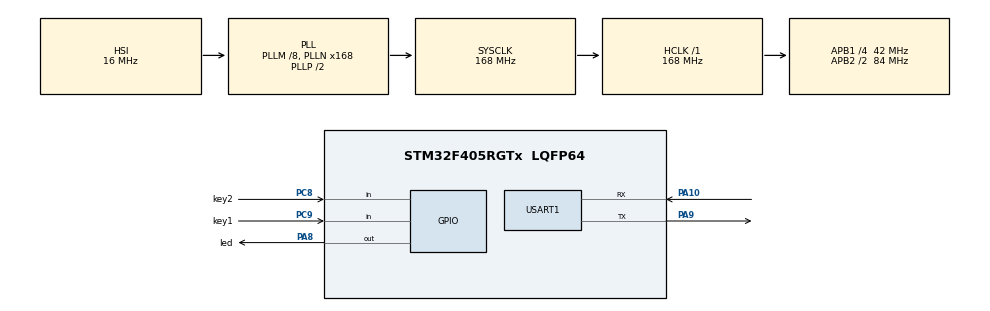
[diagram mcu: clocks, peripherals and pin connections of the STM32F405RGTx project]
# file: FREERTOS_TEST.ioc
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FREERTOS.Tasks01=defaultTask,0,128,StartDefaultTask,Default,NULL,Dynamic,NULL,NULL
Mcu.Family=STM32F4
Mcu.Name=STM32F405RGTx
Mcu.Package=LQFP64
Mcu.UserConstants=Pi,3.1415926
NVIC.PriorityGroup=NVIC_PRIORITYGROUP_4
NVIC.TIM1_UP_TIM10_IRQn=true\:15\:0\:false\:false\:true\:false\:false\:true\:true
NVIC.TimeBase=TIM1_UP_TIM10_IRQn
NVIC.TimeBaseIP=TIM1
PA10.Mode=Asynchronous
PA10.Signal=USART1_RX
PA13.Mode=Serial_Wire
PA13.Signal=SYS_JTMS-SWDIO
PA14.Mode=Serial_Wire
PA14.Signal=SYS_JTCK-SWCLK
PA8.GPIO_Label=led
PA8.Signal=GPIO_Output
PA9.Mode=Asynchronous
PA9.Signal=USART1_TX
PC8.GPIO_Label=key2
PC8.Signal=GPIO_Input
PC9.GPIO_Label=key1
PC9.Signal=GPIO_Input
PH0-OSC_IN.Mode=HSE-External-Oscillator
PH0-OSC_IN.Signal=RCC_OSC_IN
PH1-OSC_OUT.Mode=HSE-External-Oscillator
PH1-OSC_OUT.Signal=RCC_OSC_OUT
ProjectManager.HeapSize=0x200
ProjectManager.StackSize=0x400
ProjectManager.TargetToolchain=MDK-ARM V5.32
RCC.48MHZClocksFreq_Value=84000000
RCC.AHBFreq_Value=168000000
RCC.APB1CLKDivider=RCC_HCLK_DIV4
RCC.APB1Freq_Value=42000000
RCC.APB1TimFreq_Value=84000000
RCC.APB2CLKDivider=RCC_HCLK_DIV2
RCC.APB2Freq_Value=84000000
RCC.APB2TimFreq_Value=168000000
RCC.CortexFreq_Value=168000000
RCC.HCLKFreq_Value=168000000
RCC.HSE_VALUE=24000000
RCC.HSI_VALUE=16000000
RCC.LSE_VALUE=32768
RCC.PLLM=8
RCC.PLLN=168
RCC.SYSCLKFreq_VALUE=168000000
RCC.SYSCLKSource=RCC_SYSCLKSOURCE_PLLCLK
RCC.VCOOutputFreq_Value=336000000
USART1.VirtualMode=VM_ASYNC
VP_FREERTOS_VS_CMSIS_V1.Mode=CMSIS_V1
VP_SYS_VS_tim1.Mode=TIM1
board=custom

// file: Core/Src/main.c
/* USER CODE BEGIN Header */
/**
  ******************************************************************************
  * @file           : main.c
  * @brief          : Main program body
  ******************************************************************************
  * @attention
  *
  * Copyright (c) 2025 STMicroelectronics.
  * All rights reserved.
  *
  * This software is licensed under terms that can be found in the LICENSE file
  * in the root directory of this software component.
  * If no LICENSE file comes with this software, it is provided AS-IS.
  *
  ******************************************************************************
  */
/* USER CODE END Header */
#include "main.h"
#include "cmsis_os.h"
#include "usart.h"
#include "gpio.h"

void SystemClock_Config(void);
void MX_FREERTOS_Init(void);

/* USER CODE BEGIN 0 */
void start_task (void *pvParameters);
void led0_task(void *pvParameters);
void key0_task(void *pvParameters);
void led_on()
{
    HAL_GPIO_WritePin(led_GPIO_Port,led_Pin,1);
}

void led_off()
{
    HAL_GPIO_WritePin(led_GPIO_Port,led_Pin,0);
}

#define StartTask_PRIO 2
#define LED0_TASK_PRIO 3
#define KEY0_TASK_PRIO 3
#define StartTask_Size 512
#define LED0_STK_SIZE 512
#define KEY0_STK_SIZE 512

TaskHandle_t StartTask_Handler;
TaskHandle_t LED0Task_Handler;
TaskHandle_t KEY0Task_Handler;

#define QUEUE_LEN 10
#define QUEUE_SIZE sizeof(uint64_t)
QueueHandle_t Test_Queue;
/* USER CODE END 0 */

int main(void)
{

  /* USER CODE BEGIN 1 */
    BaseType_t xReturn = pdPASS;
  /* USER CODE END 1 */

  /* MCU Configuration--------------------------------------------------------*/

  /* Reset of all peripherals, Initializes the Flash interface and the Systick. */
  HAL_Init();

  /* Configure the system clock */
  SystemClock_Config();

  /* Initialize all configured peripherals */
  MX_GPIO_Init();
  MX_USART1_UART_Init();
  /* USER CODE BEGIN 2 */
  xTaskCreate((TaskFunction_t) start_task,
                (const char *) "start_task",
                (uint16_t)StartTask_Size,
                (void *) NULL,
                (UBaseType_t) StartTask_PRIO,
                (TaskHandle_t *) &StartTask_Handler );
 Test_Queue=xQueueCreate( QUEUE_LEN,QUEUE_SIZE);
  /* USER CODE END 2 */

  /* Call init function for freertos objects (in cmsis_os2.c) */
  MX_FREERTOS_Init();

  /* Start scheduler */
  osKernelStart();

  /* We should never get here as control is now taken by the scheduler */

  /* Infinite loop */
    while (1)
    {

    }
}

void SystemClock_Config(void)
{
  RCC_OscInitTypeDef RCC_OscInitStruct = {0};
  RCC_ClkInitTypeDef RCC_ClkInitStruct = {0};

  /** Configure the main internal regulator output voltage
  */
  __HAL_RCC_PWR_CLK_ENABLE();
  __HAL_PWR_VOLTAGESCALING_CONFIG(PWR_REGULATOR_VOLTAGE_SCALE1);

  /** Initializes the RCC Oscillators according to the specified parameters
  * in the RCC_OscInitTypeDef structure.
  */
  RCC_OscInitStruct.OscillatorType = RCC_OSCILLATORTYPE_HSI;
  RCC_OscInitStruct.HSIState = RCC_HSI_ON;
  RCC_OscInitStruct.HSICalibrationValue = RCC_HSICALIBRATION_DEFAULT;
  RCC_OscInitStruct.PLL.PLLState = RCC_PLL_ON;
  RCC_OscInitStruct.PLL.PLLSource = RCC_PLLSOURCE_HSI;
  RCC_OscInitStruct.PLL.PLLM = 8;
  RCC_OscInitStruct.PLL.PLLN = 168;
  RCC_OscInitStruct.PLL.PLLP = RCC_PLLP_DIV2;
  RCC_OscInitStruct.PLL.PLLQ = 4;
  if (HAL_RCC_OscConfig(&RCC_OscInitStruct) != HAL_OK)
  {
    Error_Handler();
  }

  /** Initializes the CPU, AHB and APB buses clocks
  */
  RCC_ClkInitStruct.ClockType = RCC_CLOCKTYPE_HCLK|RCC_CLOCKTYPE_SYSCLK
                              |RCC_CLOCKTYPE_PCLK1|RCC_CLOCKTYPE_PCLK2;
  RCC_ClkInitStruct.SYSCLKSource = RCC_SYSCLKSOURCE_PLLCLK;
  RCC_ClkInitStruct.AHBCLKDivider = RCC_SYSCLK_DIV1;
  RCC_ClkInitStruct.APB1CLKDivider = RCC_HCLK_DIV4;
  RCC_ClkInitStruct.APB2CLKDivider = RCC_HCLK_DIV2;

  if (HAL_RCC_ClockConfig(&RCC_ClkInitStruct, FLASH_LATENCY_5) != HAL_OK)
  {
    Error_Handler();
  }
}

/* USER CODE BEGIN 4 */
void start_task (void *pvParameters) {
    //创建led相关task
    xTaskCreate((TaskFunction_t) led0_task,
                (const char *) "led0_task",
                (uint16_t)LED0_STK_SIZE,
                (void *) NULL,
                (UBaseType_t) LED0_TASK_PRIO,
                (TaskHandle_t *) &LED0Task_Handler );
//创建key相关task
    xTaskCreate((TaskFunction_t) key0_task,
                (const char *) "key0_task",
                (uint16_t)KEY0_STK_SIZE,
                (void *) NULL,
                (UBaseType_t) KEY0_TASK_PRIO,
                (TaskHandle_t *) &KEY0Task_Handler );
    vTaskDelete(StartTask_Handler);
}

void led0_task(void *pvParameters) {
    while (1)
    {
        led_on();
        printf("led is on");
        vTaskDelay(500);
        led_off();
        printf("led is off");
        vTaskDelay(500);
    }
}

void key0_task(void *pvParameters) {
while (1)
{
if(HAL_GPIO_ReadPin(key1_GPIO_Port,key1_Pin)==1)
{
vTaskSuspend(LED0Task_Handler);
  printf("led任务已挂起");
}
if(HAL_GPIO_ReadPin(key2_GPIO_Port,key2_Pin)==1)
{
vTaskResume(LED0Task_Handler);
printf("led任务已经释放");

}
vTaskDelay(20);
}
}

/* USER CODE END 4 */

void HAL_TIM_PeriodElapsedCallback(TIM_HandleTypeDef *htim)
{
  if (htim->Instance == TIM1) {
    HAL_IncTick();
  }
}

void Error_Handler(void)
{
    __disable_irq();
    while (1)
    {
    }
}

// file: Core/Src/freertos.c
/* USER CODE BEGIN Header */
/**
  ******************************************************************************
  * File Name          : freertos.c
  * Description        : Code for freertos applications
  ******************************************************************************
  * @attention
  *
  * Copyright (c) 2025 STMicroelectronics.
  * All rights reserved.
  *
  * This software is licensed under terms that can be found in the LICENSE file
  * in the root directory of this software component.
  * If no LICENSE file comes with this software, it is provided AS-IS.
  *
  ******************************************************************************
  */
/* USER CODE END Header */

#include "FreeRTOS.h"
#include "task.h"
#include "main.h"
#include "cmsis_os.h"

osThreadId defaultTaskHandle;

void StartDefaultTask(void const * argument);

void MX_FREERTOS_Init(void); /* (MISRA C 2004 rule 8.1) */

/* GetIdleTaskMemory prototype (linked to static allocation support) */
void vApplicationGetIdleTaskMemory( StaticTask_t **ppxIdleTaskTCBBuffer, StackType_t **ppxIdleTaskStackBuffer, uint32_t *pulIdleTaskStackSize );

/* USER CODE BEGIN GET_IDLE_TASK_MEMORY */
static StaticTask_t xIdleTaskTCBBuffer;
static StackType_t xIdleStack[configMINIMAL_STACK_SIZE];

void vApplicationGetIdleTaskMemory( StaticTask_t **ppxIdleTaskTCBBuffer, StackType_t **ppxIdleTaskStackBuffer, uint32_t *pulIdleTaskStackSize )
{
    *ppxIdleTaskTCBBuffer = &xIdleTaskTCBBuffer;
    *ppxIdleTaskStackBuffer = &xIdleStack[0];
    *pulIdleTaskStackSize = configMINIMAL_STACK_SIZE;
    /* place for user code */
}
/* USER CODE END GET_IDLE_TASK_MEMORY */

void MX_FREERTOS_Init(void) {

  /* Create the thread(s) */
  /* definition and creation of defaultTask */
  osThreadDef(defaultTask, StartDefaultTask, osPriorityNormal, 0, 128);
  defaultTaskHandle = osThreadCreate(osThread(defaultTask), NULL);

}

void StartDefaultTask(void const * argument)
{
    for(;;)
    {
    }
}
